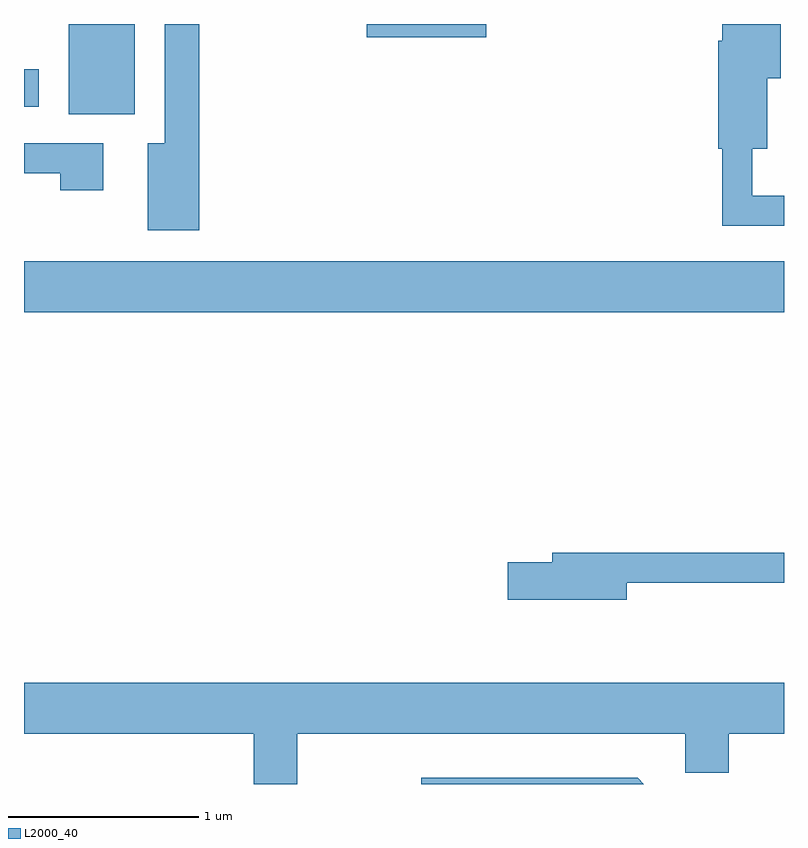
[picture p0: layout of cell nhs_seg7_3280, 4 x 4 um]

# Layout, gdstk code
import gdstk
lib = gdstk.Library(unit=1e-6, precision=1e-09)
def R(c, l, rs):  # rectangles x0, y0, x1, y1
    for r in rs: c.add(gdstk.rectangle(r[:2], r[2:], *l))
def P(c, l, *ps):  # polygons
    for p in ps: c.add(gdstk.Polygon(p, *l))
L2000_40 = (2000, 40)

nhs_seg7_3280 = lib.new_cell('nhs_seg7_3280')
R(nhs_seg7_3280, L2000_40, [(285.611,1738.736,289.611,1739.004), (285.846,1739.776,286.194,1740.252), (285.611,1739.816,285.689,1740.014), (287.416,1740.181,288.044,1740.252)])
P(nhs_seg7_3280, L2000_40, [(289.611,1739.349),(289.444,1739.349),(289.444,1739.596),(289.524,1739.596),(289.524,1739.966),(289.594,1739.966),(289.594,1740.252),(289.286,1740.252),(289.286,1740.164),(289.266,1740.164),(289.266,1739.596),(289.286,1739.596),(289.286,1739.191),(289.611,1739.191)],
  [(286.534,1740.252),(286.351,1740.252),(286.351,1739.624),(286.261,1739.624),(286.261,1739.166),(286.534,1739.166)],
  [(286.029,1739.624),(285.611,1739.624),(285.611,1739.466),(285.801,1739.466),(285.801,1739.376),(286.029,1739.376)],
  [(288.784,1737.311),(289.611,1737.311),(289.611,1737.469),(288.391,1737.469),(288.391,1737.419),(288.156,1737.419),(288.156,1737.221),(288.784,1737.221)],
  [(287.049,1736.516),(289.091,1736.516),(289.091,1736.311),(289.319,1736.311),(289.319,1736.516),(289.611,1736.516),(289.611,1736.784),(285.611,1736.784),(285.611,1736.516),(286.821,1736.516),(286.821,1736.252),(287.049,1736.252)],
  [(288.842,1736.284),(287.703,1736.284),(287.703,1736.252),(288.874,1736.252)])

lib.write_gds('nhs_seg7_3280.gds')
